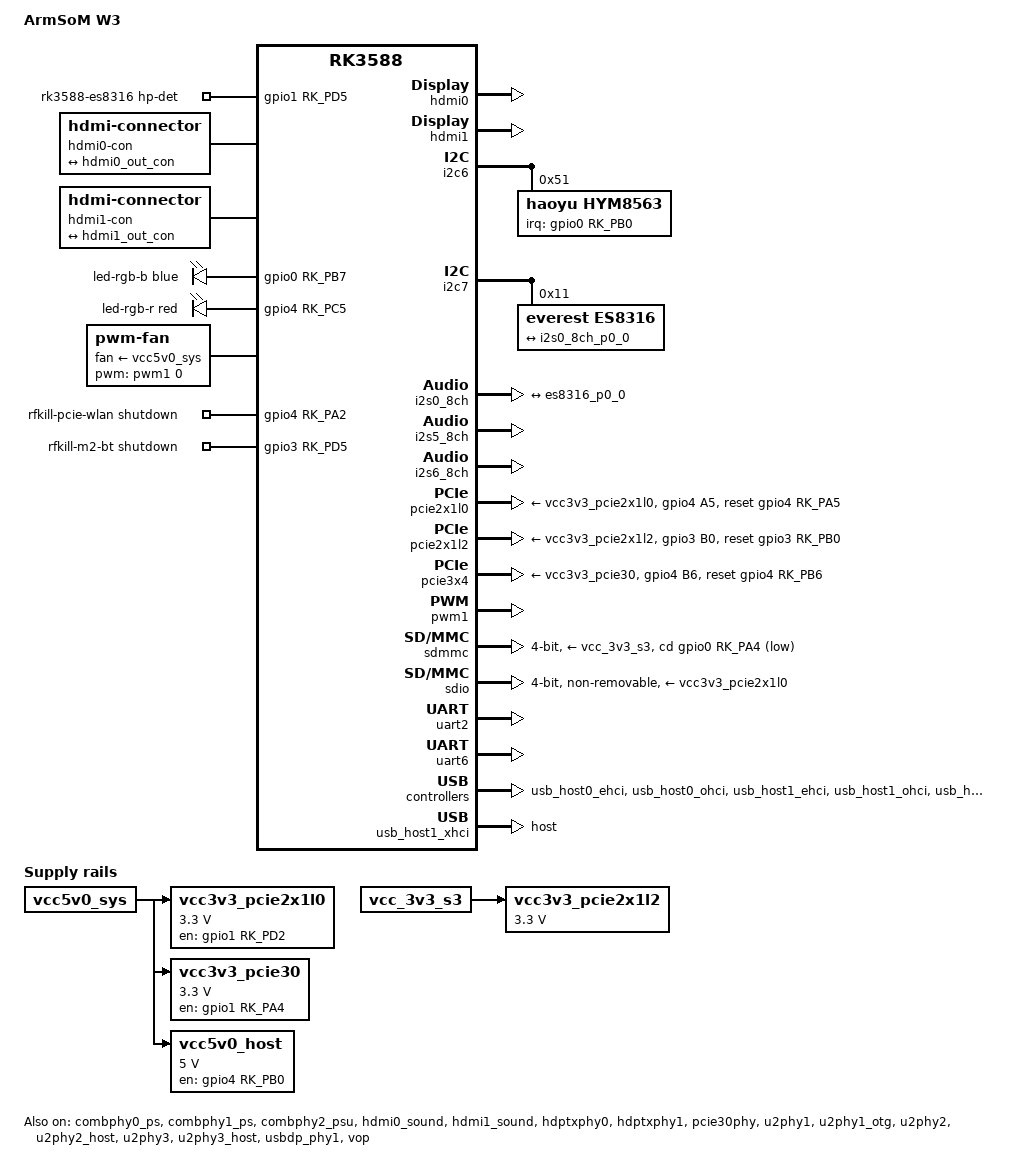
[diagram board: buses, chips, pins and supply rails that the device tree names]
// SPDX-License-Identifier: (GPL-2.0+ OR MIT)

/dts-v1/;

#include <dt-bindings/gpio/gpio.h>
#include <dt-bindings/leds/common.h>
#include <dt-bindings/soc/rockchip,vop2.h>
#include "rk3588-armsom-lm7.dtsi"

/ {
	model = "ArmSoM W3";
	compatible = "armsom,w3", "armsom,lm7", "rockchip,rk3588";

	aliases {
		mmc1 = &sdmmc;
		mmc2 = &sdio;
	};

	analog-sound {
		compatible = "audio-graph-card";
		label = "rk3588-es8316";

		widgets = "Microphone", "Mic Jack",
			  "Headphone", "Headphones";

		routing = "MIC2", "Mic Jack",
			  "Headphones", "HPOL",
			  "Headphones", "HPOR";

		dais = <&i2s0_8ch_p0>;
		hp-det-gpio = <&gpio1 RK_PD5 GPIO_ACTIVE_HIGH>;
		pinctrl-names = "default";
		pinctrl-0 = <&hp_detect>;
	};

	hdmi0-con {
		compatible = "hdmi-connector";
		type = "a";

		port {
			hdmi0_con_in: endpoint {
				remote-endpoint = <&hdmi0_out_con>;
			};
		};
	};

	hdmi1-con {
		compatible = "hdmi-connector";
		type = "a";

		port {
			hdmi1_con_in: endpoint {
				remote-endpoint = <&hdmi1_out_con>;
			};
		};
	};

	leds {
		compatible = "gpio-leds";
		pinctrl-names = "default";
		pinctrl-0 = <&led_rgb_b>;

		led-rgb-b {
			function = LED_FUNCTION_STATUS;
			color = <LED_COLOR_ID_BLUE>;
			gpios = <&gpio0 RK_PB7 GPIO_ACTIVE_HIGH>;
			linux,default-trigger = "heartbeat";
		};

		led-rgb-r {
			function = LED_FUNCTION_STATUS;
			color = <LED_COLOR_ID_RED>;
			gpios = <&gpio4 RK_PC5 GPIO_ACTIVE_HIGH>;
			linux,default-trigger = "none";
		};
	};

	fan: pwm-fan {
		compatible = "pwm-fan";
		cooling-levels = <0 120 150 180 210 240 255>;
		fan-supply = <&vcc5v0_sys>;
		pwms = <&pwm1 0 50000 0>;
		#cooling-cells = <2>;
	};

	rfkill {
		compatible = "rfkill-gpio";
		label = "rfkill-pcie-wlan";
		radio-type = "wlan";
		shutdown-gpios = <&gpio4 RK_PA2 GPIO_ACTIVE_HIGH>;
	};

	rfkill-bt {
		compatible = "rfkill-gpio";
		label = "rfkill-m2-bt";
		radio-type = "bluetooth";
		shutdown-gpios = <&gpio3 RK_PD5 GPIO_ACTIVE_HIGH>;
	};

	vcc3v3_pcie2x1l0: regulator-vcc3v3-pcie2x1l0 {
		compatible = "regulator-fixed";
		enable-active-high;
		gpios = <&gpio1 RK_PD2 GPIO_ACTIVE_HIGH>;
		pinctrl-names = "default";
		pinctrl-0 = <&pcie2_0_vcc3v3_en>;
		regulator-name = "vcc3v3_pcie2x1l0";
		regulator-always-on;
		regulator-boot-on;
		regulator-min-microvolt = <3300000>;
		regulator-max-microvolt = <3300000>;
		startup-delay-us = <50000>;
		vin-supply = <&vcc5v0_sys>;
	};

	vcc3v3_pcie2x1l2: regulator-vcc3v3-pcie2x1l2 {
		compatible = "regulator-fixed";
		regulator-name = "vcc3v3_pcie2x1l2";
		regulator-min-microvolt = <3300000>;
		regulator-max-microvolt = <3300000>;
		startup-delay-us = <5000>;
		vin-supply = <&vcc_3v3_s3>;
	};

	vcc3v3_pcie30: regulator-vcc3v3-pcie30 {
		compatible = "regulator-fixed";
		enable-active-high;
		gpios = <&gpio1 RK_PA4 GPIO_ACTIVE_HIGH>;
		pinctrl-names = "default";
		pinctrl-0 = <&pcie3_vcc3v3_en>;
		regulator-name = "vcc3v3_pcie30";
		regulator-min-microvolt = <3300000>;
		regulator-max-microvolt = <3300000>;
		startup-delay-us = <5000>;
		vin-supply = <&vcc5v0_sys>;
	};

	vcc5v0_host: regulator-vcc5v0-host {
		compatible = "regulator-fixed";
		regulator-name = "vcc5v0_host";
		regulator-boot-on;
		regulator-always-on;
		regulator-min-microvolt = <5000000>;
		regulator-max-microvolt = <5000000>;
		enable-active-high;
		gpio = <&gpio4 RK_PB0 GPIO_ACTIVE_HIGH>;
		pinctrl-names = "default";
		pinctrl-0 = <&vcc5v0_host_en>;
		vin-supply = <&vcc5v0_sys>;
	};
};

&combphy0_ps {
	status = "okay";
};

&combphy1_ps {
	status = "okay";
};

&combphy2_psu {
	status = "okay";
};

&hdmi0 {
	status = "okay";
};

&hdmi0_in {
	hdmi0_in_vp0: endpoint {
		remote-endpoint = <&vp0_out_hdmi0>;
	};
};

&hdmi0_out {
	hdmi0_out_con: endpoint {
		remote-endpoint = <&hdmi0_con_in>;
	};
};

&hdmi0_sound {
	status = "okay";
};

&hdmi1 {
	status = "okay";
};

&hdmi1_in {
	hdmi1_in_vp1: endpoint {
		remote-endpoint = <&vp1_out_hdmi1>;
	};
};

&hdmi1_out {
	hdmi1_out_con: endpoint {
		remote-endpoint = <&hdmi1_con_in>;
	};
};

&hdmi1_sound {
	status = "okay";
};

&hdptxphy0 {
	status = "okay";
};

&hdptxphy1 {
	status = "okay";
};

&i2c6 {
	status = "okay";

	hym8563: rtc@51 {
		compatible = "haoyu,hym8563";
		reg = <0x51>;
		#clock-cells = <0>;
		clock-output-names = "hym8563";
		pinctrl-names = "default";
		pinctrl-0 = <&hym8563_int>;
		interrupt-parent = <&gpio0>;
		interrupts = <RK_PB0 IRQ_TYPE_LEVEL_LOW>;
		wakeup-source;
	};
};

&i2c7 {
	status = "okay";

	es8316: audio-codec@11 {
		compatible = "everest,es8316";
		reg = <0x11>;
		clocks = <&cru I2S0_8CH_MCLKOUT>;
		clock-names = "mclk";
		assigned-clocks = <&cru I2S0_8CH_MCLKOUT>;
		assigned-clock-rates = <12288000>;
		#sound-dai-cells = <0>;

		port {
			es8316_p0_0: endpoint {
				remote-endpoint = <&i2s0_8ch_p0_0>;
			};
		};
	};
};

&i2s0_8ch {
	pinctrl-names = "default";
	pinctrl-0 = <&i2s0_lrck
		     &i2s0_mclk
		     &i2s0_sclk
		     &i2s0_sdi0
		     &i2s0_sdo0>;
	status = "okay";

	i2s0_8ch_p0: port {
		i2s0_8ch_p0_0: endpoint {
			dai-format = "i2s";
			mclk-fs = <256>;
			remote-endpoint = <&es8316_p0_0>;
		};
	};
};

&i2s5_8ch {
	status = "okay";
};

&i2s6_8ch {
	status = "okay";
};

&package_thermal {
	polling-delay = <1000>;

	trips {
		package_fan0: package-fan0 {
			temperature = <55000>;
			hysteresis = <2000>;
			type = "active";
		};

		package_fan1: package-fan1 {
			temperature = <65000>;
			hysteresis = <2000>;
			type = "active";
		};
	};

	cooling-maps {
		map0 {
			trip = <&package_fan0>;
			cooling-device = <&fan THERMAL_NO_LIMIT 1>;
		};

		map1 {
			trip = <&package_fan1>;
			cooling-device = <&fan 2 THERMAL_NO_LIMIT>;
		};
	};
};

&pcie2x1l0 {
	pinctrl-names = "default";
	pinctrl-0 = <&pcie2_0_rst>;
	reset-gpios = <&gpio4 RK_PA5 GPIO_ACTIVE_HIGH>;
	vpcie3v3-supply = <&vcc3v3_pcie2x1l0>;
	status = "okay";
};

&pcie2x1l2 {
	pinctrl-names = "default";
	pinctrl-0 = <&pcie2_2_rst>;
	reset-gpios = <&gpio3 RK_PB0 GPIO_ACTIVE_HIGH>;
	vpcie3v3-supply = <&vcc3v3_pcie2x1l2>;
	status = "okay";
};

&pcie30phy {
	status = "okay";
};

&pcie3x4 {
	pinctrl-names = "default";
	pinctrl-0 = <&pcie3_rst>;
	reset-gpios = <&gpio4 RK_PB6 GPIO_ACTIVE_HIGH>;
	vpcie3v3-supply = <&vcc3v3_pcie30>;
	status = "okay";
};

&pinctrl {
	hym8563 {
		hym8563_int: hym8563-int {
			rockchip,pins = <0 RK_PB0 RK_FUNC_GPIO &pcfg_pull_none>;
		};
	};

	leds {
		led_rgb_b: led-rgb-b {
			rockchip,pins = <0 RK_PB7 RK_FUNC_GPIO &pcfg_pull_none>;
		};
	};

	sound {
		hp_detect: hp-detect {
			rockchip,pins = <1 RK_PD5 RK_FUNC_GPIO &pcfg_pull_none>;
		};
	};

	pcie2 {
		pcie2_0_rst: pcie2-0-rst {
			rockchip,pins = <4 RK_PA5 RK_FUNC_GPIO &pcfg_pull_none>;
		};

		pcie2_0_vcc3v3_en: pcie2-0-vcc-en {
			rockchip,pins = <1 RK_PD2 RK_FUNC_GPIO &pcfg_pull_none>;
		};

		pcie2_2_rst: pcie2-2-rst {
			rockchip,pins = <3 RK_PB0 RK_FUNC_GPIO &pcfg_pull_none>;
		};
	};

	pcie3 {
		pcie3_rst: pcie3-rst {
			rockchip,pins = <4 RK_PB6 RK_FUNC_GPIO &pcfg_pull_none>;
		};

		pcie3_vcc3v3_en: pcie3-vcc3v3-en {
			rockchip,pins = <1 RK_PA4 RK_FUNC_GPIO &pcfg_pull_none>;
		};
	};

	usb {
		vcc5v0_host_en: vcc5v0-host-en {
			rockchip,pins = <4 RK_PB0 RK_FUNC_GPIO &pcfg_pull_none>;
		};
	};
};

&pwm1 {
	status = "okay";
};

&sdmmc {
	bus-width = <4>;
	cap-mmc-highspeed;
	cap-sd-highspeed;
	cd-gpios = <&gpio0 RK_PA4 GPIO_ACTIVE_LOW>;
	disable-wp;
	max-frequency = <200000000>;
	no-sdio;
	no-mmc;
	sd-uhs-sdr104;
	vmmc-supply = <&vcc_3v3_s3>;
	vqmmc-supply = <&vccio_sd_s0>;
	status = "okay";
};

&sdio {
	bus-width = <4>;
	cap-sdio-irq;
	disable-wp;
	keep-power-in-suspend;
	max-frequency = <200000000>;
	no-sd;
	no-mmc;
	non-removable;
	pinctrl-names = "default";
	pinctrl-0 = <&sdiom0_pins>;
	sd-uhs-sdr12;
	sd-uhs-sdr25;
	sd-uhs-sdr50;
	sd-uhs-sdr104;
	vmmc-supply = <&vcc3v3_pcie2x1l0>;
	vqmmc-supply = <&vcc_1v8_s3>;
	wakeup-source;
	status = "okay";
};

&uart2 {
	pinctrl-0 = <&uart2m0_xfer>;
	status = "okay";
};

&uart6 {
	pinctrl-names = "default";
	pinctrl-0 = <&uart6m1_xfer &uart6m1_ctsn &uart6m1_rtsn>;
	status = "okay";
};

&u2phy1 {
	status = "okay";
};

&u2phy1_otg {
	status = "okay";
};

&u2phy2 {
	status = "okay";
};

&u2phy2_host {
	/* connected to USB hub, which is powered by vcc5v0_sys */
	phy-supply = <&vcc5v0_sys>;
	status = "okay";
};

&u2phy3 {
	status = "okay";
};

&u2phy3_host {
	phy-supply = <&vcc5v0_host>;
	status = "okay";
};

&usbdp_phy1 {
	status = "okay";
};

&usb_host0_ehci {
	status = "okay";
};

&usb_host0_ohci {
	status = "okay";
};

&usb_host1_ehci {
	status = "okay";
};

&usb_host1_ohci {
	status = "okay";
};

&usb_host1_xhci {
	dr_mode = "host";
	status = "okay";
};

&usb_host2_xhci {
	status = "okay";
};

&vop {
	status = "okay";
};

&vop_mmu {
	status = "okay";
};

&vp0 {
	vp0_out_hdmi0: endpoint@ROCKCHIP_VOP2_EP_HDMI0 {
		reg = <ROCKCHIP_VOP2_EP_HDMI0>;
		remote-endpoint = <&hdmi0_in_vp0>;
	};
};

&vp1 {
	vp1_out_hdmi1: endpoint@ROCKCHIP_VOP2_EP_HDMI1 {
		reg = <ROCKCHIP_VOP2_EP_HDMI1>;
		remote-endpoint = <&hdmi1_in_vp1>;
	};
};
